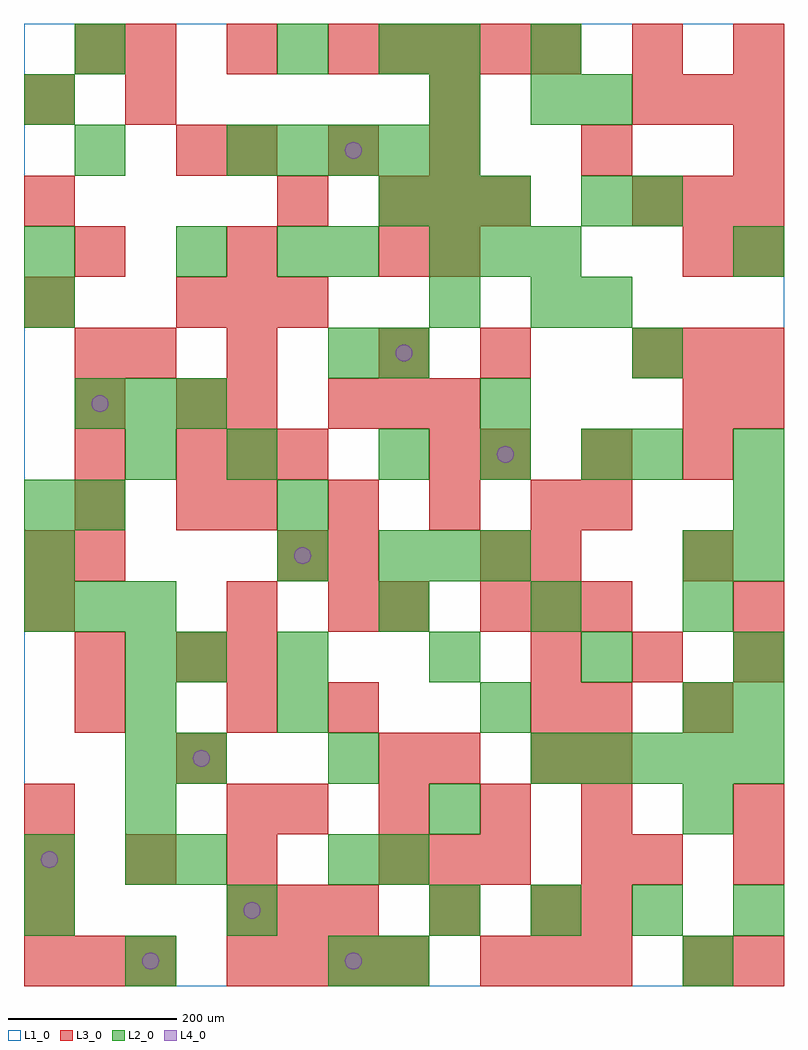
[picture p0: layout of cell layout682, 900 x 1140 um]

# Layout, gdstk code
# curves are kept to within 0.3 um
import gdstk
lib = gdstk.Library(unit=1e-6, precision=1e-09)
def R(c, l, rs):  # rectangles x0, y0, x1, y1
    for r in rs: c.add(gdstk.rectangle(r[:2], r[2:], *l))
def A(c, l, x, y, w, h, nx, ny, dx, dy):  # array of equal rectangles
    R(c, l, [(x+i*dx, y+j*dy, x+i*dx+w, y+j*dy+h) for i in range(nx) for j in range(ny)])
def P(c, l, *ps):  # polygons
    for p in ps: c.add(gdstk.Polygon(p, *l))
L1_0 = (1, 0)
L2_0 = (2, 0)
L3_0 = (3, 0)
L4_0 = (4, 0)

layout682 = lib.new_cell('layout682')
R(layout682, L1_0, [(0,0,900,1140)])
A(layout682, L2_0, 360, 0, 60, 60, 1, 3, 0, 120)
A(layout682, L2_0, 0, 60, 60, 60, 3, 1, 240, 0)
A(layout682, L2_0, 600, 60, 60, 60, 3, 1, 120, 0)
A(layout682, L2_0, 120, 120, 60, 60, 1, 5, 0, 60)
A(layout682, L2_0, 180, 120, 60, 60, 1, 3, 0, 120)
A(layout682, L2_0, 600, 240, 60, 60, 5, 1, 60, 0)
A(layout682, L2_0, 300, 300, 60, 60, 3, 1, 240, 0)
A(layout682, L2_0, 300, 360, 60, 60, 4, 1, 180, 0)
A(layout682, L2_0, 0, 420, 60, 60, 3, 1, 60, 0)
A(layout682, L2_0, 420, 420, 60, 60, 3, 1, 180, 0)
A(layout682, L2_0, 420, 480, 60, 60, 3, 2, 60, 420)
A(layout682, L2_0, 840, 480, 60, 60, 1, 3, 0, 60)
A(layout682, L2_0, 420, 600, 60, 60, 3, 1, 120, 0)
A(layout682, L2_0, 60, 660, 60, 60, 3, 1, 60, 0)
A(layout682, L2_0, 660, 780, 60, 60, 1, 3, 0, 120)
A(layout682, L2_0, 480, 840, 60, 60, 3, 1, 60, 0)
A(layout682, L2_0, 240, 960, 60, 60, 5, 1, 60, 0)
R(layout682, L2_0, [(120,0,180,60), (420,0,480,60), (780,0,840,60), (0,120,60,180), (420,120,480,180), (480,180,540,240), (780,180,840,240), (840,300,900,360), (0,480,60,540), (300,480,360,540), (780,480,840,540), (0,540,60,600), (60,540,120,600), (300,540,360,600), (120,600,180,660), (240,600,300,660), (720,600,780,660), (540,660,600,720), (360,720,420,780), (420,720,480,780), (720,720,780,780), (0,780,60,840), (480,780,540,840), (600,780,660,840), (0,840,60,900), (180,840,240,900), (300,840,360,900), (360,840,420,900), (840,840,900,900), (720,900,780,960), (60,960,120,1020), (0,1020,60,1080), (480,1020,540,1080), (600,1020,660,1080), (60,1080,120,1140), (300,1080,360,1140), (420,1080,480,1140), (480,1080,540,1140), (600,1080,660,1140)])
A(layout682, L3_0, 0, 0, 60, 60, 3, 1, 60, 0)
A(layout682, L3_0, 240, 0, 60, 60, 4, 1, 60, 0)
A(layout682, L3_0, 540, 0, 60, 60, 3, 2, 60, 420)
A(layout682, L3_0, 240, 60, 60, 60, 3, 1, 60, 0)
A(layout682, L3_0, 0, 120, 60, 60, 3, 1, 120, 0)
A(layout682, L3_0, 420, 120, 60, 60, 3, 2, 60, 780)
A(layout682, L3_0, 300, 180, 60, 60, 4, 1, 120, 0)
A(layout682, L3_0, 840, 180, 60, 60, 1, 3, 0, 240)
A(layout682, L3_0, 240, 300, 60, 60, 1, 3, 0, 60)
A(layout682, L3_0, 780, 300, 60, 60, 1, 4, 0, 180)
A(layout682, L3_0, 600, 360, 60, 60, 3, 1, 120, 0)
A(layout682, L3_0, 60, 480, 60, 60, 1, 5, 0, 60)
A(layout682, L3_0, 240, 540, 60, 60, 4, 1, 120, 0)
A(layout682, L3_0, 180, 600, 60, 60, 3, 2, 60, 180)
A(layout682, L3_0, 540, 600, 60, 60, 3, 1, 120, 0)
A(layout682, L3_0, 360, 660, 60, 60, 3, 1, 60, 0)
A(layout682, L3_0, 720, 720, 60, 60, 3, 2, 60, 180)
A(layout682, L3_0, 0, 780, 60, 60, 1, 3, 0, 120)
A(layout682, L3_0, 60, 840, 60, 60, 3, 1, 180, 0)
A(layout682, L3_0, 840, 840, 60, 60, 1, 3, 0, 120)
A(layout682, L3_0, 240, 960, 60, 60, 3, 1, 120, 0)
A(layout682, L3_0, 720, 1020, 60, 60, 3, 1, 60, 0)
A(layout682, L3_0, 120, 1080, 60, 60, 3, 1, 120, 0)
A(layout682, L3_0, 420, 1080, 60, 60, 4, 1, 60, 0)
R(layout682, L3_0, [(780,0,840,60), (840,0,900,60), (0,60,60,120), (480,60,540,120), (600,60,660,120), (660,60,720,120), (660,120,720,180), (720,120,780,180), (840,120,900,180), (0,180,60,240), (240,180,300,240), (180,240,240,300), (420,240,480,300), (480,240,540,300), (600,240,660,300), (660,240,720,300), (60,300,120,360), (360,300,420,360), (600,300,660,360), (660,300,720,360), (60,360,120,420), (180,360,240,420), (0,420,60,480), (360,420,420,480), (420,420,480,480), (0,480,60,540), (300,480,360,540), (360,480,420,540), (540,480,600,540), (600,480,660,540), (180,540,240,600), (660,540,720,600), (480,600,540,660), (180,660,240,720), (240,660,300,720), (120,720,180,780), (240,720,300,780), (420,720,480,780), (540,720,600,780), (480,840,540,900), (300,900,360,960), (180,960,240,1020), (660,960,720,1020), (120,1020,180,1080), (480,1020,540,1080), (60,1080,120,1140), (720,1080,780,1140)])
P(layout682, L4_0, [(40,150),(39.239,153.827),(37.071,157.071),(33.827,159.239),(30,160),(26.173,159.239),(22.929,157.071),(20.761,153.827),(20,150),(20.761,146.173),(22.929,142.929),(26.173,140.761),(30,140),(33.827,140.761),(37.071,142.929),(39.239,146.173)],
  [(100,690),(99.239,693.827),(97.071,697.071),(93.827,699.239),(90,700),(86.173,699.239),(82.929,697.071),(80.761,693.827),(80,690),(80.761,686.173),(82.929,682.929),(86.173,680.761),(90,680),(93.827,680.761),(97.071,682.929),(99.239,686.173)],
  [(160,30),(159.239,33.827),(157.071,37.071),(153.827,39.239),(150,40),(146.173,39.239),(142.929,37.071),(140.761,33.827),(140,30),(140.761,26.173),(142.929,22.929),(146.173,20.761),(150,20),(153.827,20.761),(157.071,22.929),(159.239,26.173)],
  [(220,270),(219.239,273.827),(217.071,277.071),(213.827,279.239),(210,280),(206.173,279.239),(202.929,277.071),(200.761,273.827),(200,270),(200.761,266.173),(202.929,262.929),(206.173,260.761),(210,260),(213.827,260.761),(217.071,262.929),(219.239,266.173)],
  [(280,90),(279.239,93.827),(277.071,97.071),(273.827,99.239),(270,100),(266.173,99.239),(262.929,97.071),(260.761,93.827),(260,90),(260.761,86.173),(262.929,82.929),(266.173,80.761),(270,80),(273.827,80.761),(277.071,82.929),(279.239,86.173)],
  [(340,510),(339.239,513.827),(337.071,517.071),(333.827,519.239),(330,520),(326.173,519.239),(322.929,517.071),(320.761,513.827),(320,510),(320.761,506.173),(322.929,502.929),(326.173,500.761),(330,500),(333.827,500.761),(337.071,502.929),(339.239,506.173)],
  [(400,30),(399.239,33.827),(397.071,37.071),(393.827,39.239),(390,40),(386.173,39.239),(382.929,37.071),(380.761,33.827),(380,30),(380.761,26.173),(382.929,22.929),(386.173,20.761),(390,20),(393.827,20.761),(397.071,22.929),(399.239,26.173)],
  [(400,990),(399.239,993.827),(397.071,997.071),(393.827,999.239),(390,1000),(386.173,999.239),(382.929,997.071),(380.761,993.827),(380,990),(380.761,986.173),(382.929,982.929),(386.173,980.761),(390,980),(393.827,980.761),(397.071,982.929),(399.239,986.173)],
  [(460,750),(459.239,753.827),(457.071,757.071),(453.827,759.239),(450,760),(446.173,759.239),(442.929,757.071),(440.761,753.827),(440,750),(440.761,746.173),(442.929,742.929),(446.173,740.761),(450,740),(453.827,740.761),(457.071,742.929),(459.239,746.173)],
  [(580,630),(579.239,633.827),(577.071,637.071),(573.827,639.239),(570,640),(566.173,639.239),(562.929,637.071),(560.761,633.827),(560,630),(560.761,626.173),(562.929,622.929),(566.173,620.761),(570,620),(573.827,620.761),(577.071,622.929),(579.239,626.173)])

lib.write_gds('layout682.gds')
